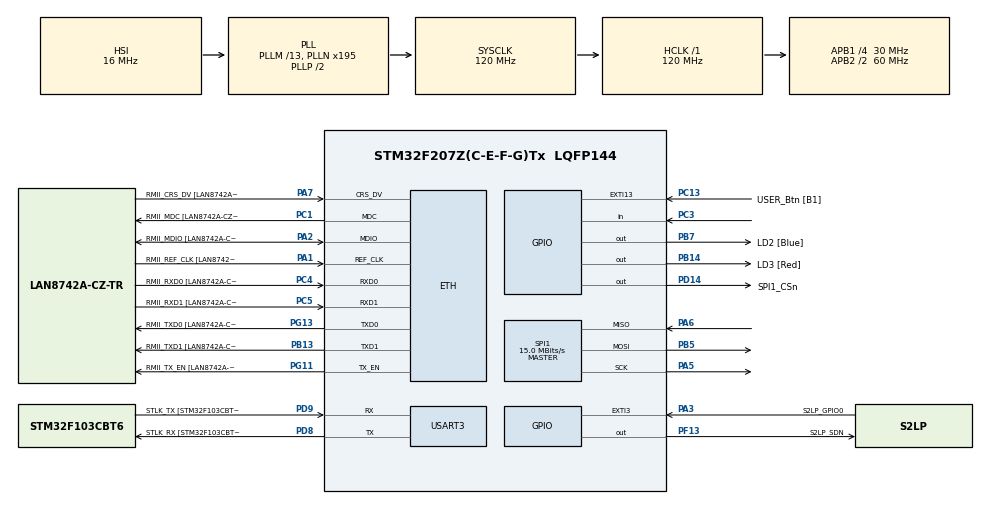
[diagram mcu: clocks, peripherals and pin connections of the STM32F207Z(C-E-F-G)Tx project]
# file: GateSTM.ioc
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ETH.MACAddr=00\:80\:E1\:00\:00\:42
ETH.MediaInterface=ETH_MEDIA_INTERFACE_RMII
ETH.PHY_Name=LAN8742A_PHY_ADDRESS
ETH.PHY_Value=0
ETH.PhyAddress=0
IWDG.Prescaler=IWDG_PRESCALER_256
IWDG.Reload=125*10
LWIP.GATEWAY_ADDRESS=192.168.000.001
LWIP.IP_ADDRESS=192.168.000.002
LWIP.LWIP_DHCP=1
LWIP.LWIP_DNS=1
LWIP.LWIP_ICMP=1
LWIP.MEMP_NUM_RAW_PCB=1
LWIP.MEMP_NUM_TCP_PCB_LISTEN=0
LWIP.MEMP_NUM_TCP_SEG=32
LWIP.MEM_SIZE=5000
LWIP.NETMASK_ADDRESS=255.255.255.000
LWIP.Version=v2.0.0_Cube
Mcu.Family=STM32F2
Mcu.Name=STM32F207Z(C-E-F-G)Tx
Mcu.Package=LQFP144
NVIC.EXTI15_10_IRQn=true\:0\:0\:false\:false\:true\:true
NVIC.EXTI3_IRQn=true\:0\:0\:false\:false\:true\:true
NVIC.PriorityGroup=NVIC_PRIORITYGROUP_4
NVIC.TIM1_UP_TIM10_IRQn=true\:0\:0\:false\:false\:true\:true
PA1.GPIO_Label=RMII_REF_CLK [LAN8742A-CZ-TR_REFCLK0]
PA1.Mode=RMII
PA1.Signal=ETH_REF_CLK
PA13.GPIO_Label=TMS
PA13.Mode=Serial_Wire
PA13.Signal=SYS_JTMS-SWDIO
PA14.GPIO_Label=TCK
PA14.Mode=Serial_Wire
PA14.Signal=SYS_JTCK-SWCLK
PA2.GPIO_Label=RMII_MDIO [LAN8742A-CZ-TR_MDIO]
PA2.Mode=RMII
PA2.Signal=ETH_MDIO
PA3.GPIO_Label=S2LP_GPIO0
PA3.GPIO_ModeDefaultEXTI=GPIO_MODE_IT_FALLING
PA3.Signal=GPXTI3
PA5.Mode=Full_Duplex_Master
PA5.Signal=SPI1_SCK
PA6.Mode=Full_Duplex_Master
PA6.Signal=SPI1_MISO
PA7.GPIO_Label=RMII_CRS_DV [LAN8742A-CZ-TR_CRS_DV]
PA7.Mode=RMII
PA7.Signal=ETH_CRS_DV
PB13.GPIO_Label=RMII_TXD1 [LAN8742A-CZ-TR_TXD1]
PB13.Mode=RMII
PB13.Signal=ETH_TXD1
PB14.GPIO_Label=LD3 [Red]
PB14.Signal=GPIO_Output
PB5.Mode=Full_Duplex_Master
PB5.Signal=SPI1_MOSI
PB7.GPIO_Label=LD2 [Blue]
PB7.Signal=GPIO_Output
PC1.GPIO_Label=RMII_MDC [LAN8742A-CZ-TR_MDC]
PC1.Mode=RMII
PC1.Signal=ETH_MDC
PC13.GPIO_Label=USER_Btn [B1]
PC13.Signal=GPXTI13
PC3.Signal=GPIO_Input
PC4.GPIO_Label=RMII_RXD0 [LAN8742A-CZ-TR_RXD0]
PC4.Mode=RMII
PC4.Signal=ETH_RXD0
PC5.GPIO_Label=RMII_RXD1 [LAN8742A-CZ-TR_RXD1]
PC5.Mode=RMII
PC5.Signal=ETH_RXD1
PD14.GPIO_Label=SPI1_CSn
PD14.Signal=GPIO_Output
PD8.GPIO_Label=STLK_RX [STM32F103CBT6_PA3]
PD8.Mode=Asynchronous
PD8.Signal=USART3_TX
PD9.GPIO_Label=STLK_TX [STM32F103CBT6_PA2]
PD9.Mode=Asynchronous
PD9.Signal=USART3_RX
PF13.GPIO_Label=S2LP_SDN
PF13.Signal=GPIO_Output
PG11.GPIO_Label=RMII_TX_EN [LAN8742A-CZ-TR_TXEN]
PG11.Mode=RMII
PG11.Signal=ETH_TX_EN
PG13.GPIO_Label=RMII_TXD0 [LAN8742A-CZ-TR_TXD0]
PG13.Mode=RMII
PG13.Signal=ETH_TXD0
ProjectManager.HeapSize=0x0
ProjectManager.StackSize=0x4000
ProjectManager.TargetToolchain=Makefile
RCC.48MHZClocksFreq_Value=48000000
RCC.AHBFreq_Value=120000000
RCC.APB1CLKDivider=RCC_HCLK_DIV4
RCC.APB1Freq_Value=30000000
RCC.APB1TimFreq_Value=60000000
RCC.APB2CLKDivider=RCC_HCLK_DIV2
RCC.APB2Freq_Value=60000000
RCC.APB2TimFreq_Value=120000000
RCC.CortexFreq_Value=120000000
RCC.HCLKFreq_Value=120000000
RCC.HSE_VALUE=8000000
RCC.HSI_VALUE=16000000
RCC.LSE_VALUE=32768
RCC.PLLM=13
RCC.PLLMUL=RCC_PLL_MUL9
RCC.PLLN=195
RCC.PLLQ=5
RCC.PRESCALERUSB=RCC_USBCLKSOURCE_PLL_DIV1_5
RCC.SYSCLKFreq_VALUE=120000000
RCC.SYSCLKSource=RCC_SYSCLKSOURCE_PLLCLK
RCC.SYSCLKSourceVirtual=RCC_SYSCLKSOURCE_PLLCLK
RCC.USBFreq_Value=48000000
RCC.VCOOutputFreq_Value=240000000
SPI1.BaudRatePrescaler=SPI_BAUDRATEPRESCALER_4
SPI1.CalculateBaudRate=15.0 MBits/s
SPI1.Direction=SPI_DIRECTION_2LINES
SPI1.Mode=SPI_MODE_MASTER
SPI1.VirtualType=VM_MASTER
TIM1.Period=2000
TIM1.Prescaler=60000
USART3.VirtualMode=VM_ASYNC
VP_CRC_VS_CRC.Mode=CRC_Activate
VP_IWDG_VS_IWDG.Mode=IWDG_Activate
VP_LWIP_VS_Enabled.Mode=Enabled
VP_RNG_VS_RNG.Mode=RNG_Activate
VP_TIM1_VS_ClockSourceINT.Mode=Internal
board=NUCLEO-F207ZG

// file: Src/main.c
// This is an independent project of an individual developer. Dear PVS-Studio, please check it.
// PVS-Studio Static Code Analyzer for C, C++ and C#: http://www.viva64.com
/**
 ******************************************************************************
 * @file           : main.c
 * @brief          : Main program body
 ******************************************************************************
 * This notice applies to any and all portions of this file
 * that are not between comment pairs USER CODE BEGIN and
 * USER CODE END. Other portions of this file, whether
 * inserted by the user or by software development tools
 * are owned by their respective copyright owners.
 *
 * Copyright (c) 2018 STMicroelectronics International N.V.
 * All rights reserved.
 *
 * Redistribution and use in source and binary forms, with or without
 * modification, are permitted, provided that the following conditions are met:
 *
 * 1. Redistribution of source code must retain the above copyright notice,
 *    this list of conditions and the following disclaimer.
 * 2. Redistributions in binary form must reproduce the above copyright notice,
 *    this list of conditions and the following disclaimer in the documentation
 *    and/or other materials provided with the distribution.
 * 3. Neither the name of STMicroelectronics nor the names of other
 *    contributors to this software may be used to endorse or promote products
 *    derived from this software without specific written permission.
 * 4. This software, including modifications and/or derivative works of this
 *    software, must execute solely and exclusively on microcontroller or
 *    microprocessor devices manufactured by or for STMicroelectronics.
 * 5. Redistribution and use of this software other than as permitted under
 *    this license is void and will automatically terminate your rights under
 *    this license.
 *
 * THIS SOFTWARE IS PROVIDED BY STMICROELECTRONICS AND CONTRIBUTORS "AS IS"
 * AND ANY EXPRESS, IMPLIED OR STATUTORY WARRANTIES, INCLUDING, BUT NOT
 * LIMITED TO, THE IMPLIED WARRANTIES OF MERCHANTABILITY, FITNESS FOR A
 * PARTICULAR PURPOSE AND NON-INFRINGEMENT OF THIRD PARTY INTELLECTUAL PROPERTY
 * RIGHTS ARE DISCLAIMED TO THE FULLEST EXTENT PERMITTED BY LAW. IN NO EVENT
 * SHALL STMICROELECTRONICS OR CONTRIBUTORS BE LIABLE FOR ANY DIRECT, INDIRECT,
 * INCIDENTAL, SPECIAL, EXEMPLARY, OR CONSEQUENTIAL DAMAGES (INCLUDING, BUT NOT
 * LIMITED TO, PROCUREMENT OF SUBSTITUTE GOODS OR SERVICES; LOSS OF USE, DATA,
 * OR PROFITS; OR BUSINESS INTERRUPTION) HOWEVER CAUSED AND ON ANY THEORY OF
 * LIABILITY, WHETHER IN CONTRACT, STRICT LIABILITY, OR TORT (INCLUDING
 * NEGLIGENCE OR OTHERWISE) ARISING IN ANY WAY OUT OF THE USE OF THIS SOFTWARE,
 * EVEN IF ADVISED OF THE POSSIBILITY OF SUCH DAMAGE.
 *
 ******************************************************************************
 */
#include "main.h"
#include "stm32f2xx_hal.h"
#include "crc.h"
#include "iwdg.h"
#include "lwip.h"
#include "rng.h"
#include "spi.h"
#include "tim.h"
#include "usart.h"
#include "gpio.h"

/* USER CODE BEGIN Includes */
#include "tcps.h"
#include "xprint.h"
#include "radio.h"
#include "MCU_Interface.h"
/* USER CODE END Includes */

/* USER CODE BEGIN PV */
/* Private variables ---------------------------------------------------------*/
extern struct netif gnetif;
extern SPI_HandleTypeDef hspi1;
/* USER CODE END PV */

void SystemClock_Config(void);

/* USER CODE BEGIN PFP */

/* Private function prototypes -----------------------------------------------*/
static void DBG_Init() {
  __HAL_DBGMCU_FREEZE_IWDG();
  __HAL_DBGMCU_FREEZE_WWDG();
  __HAL_DBGMCU_FREEZE_TIM1();
}

static void WDGStart() {
  MX_IWDG_Init();
  LOG("Start WDG");
}

static void WDGReset() {
  HAL_IWDG_Refresh(&hiwdg);
}

void RadioReveiveCallback(RADIO_PacketHeader *header, void* pData, uint8_t dataLen) {
  // LOG("RADIO: Received 0x%x->0x%x %d bytes", header->src, header->dest, dataLen);
  TCPS_SendPacket(SRV_PACKET_TYPE_RADIO_PACKET, header, dataLen + RADIO_PACKET_HEADER_SIZE);
}

void TCPSReceivePacketCallback(SRV_PacketHeader * pHead, uint8_t *payload) {
  if (SRV_PACKET_TYPE_RADIO_PACKET == pHead->type) {
    RADIO_PacketHeader *pRHead = (RADIO_PacketHeader *) payload;
    //!!!!!!!!!!!!!!! (uint16_t)pHead->payloadLength radpack uint8_t

    if (pHead->payloadLength > RADIO_MAX_PAYLOAD_SIZE) {
      LOGERR("Bad packet size %d", pHead->payloadLength);
    } else {
      assert_param(pHead->payloadLength < 0xFF);
      RADIO_Result r = RADIO_TransmitPacket(pRHead, pHead->payloadLength);
      if (RADIO_OK != r) {
        LOG("RADIO transmit error %d", r);
      }
    }
  }
}
/* USER CODE END PFP */

int main(void) {

  /* MCU Configuration----------------------------------------------------------*/

  /* Reset of all peripherals, Initializes the Flash interface and the Systick. */
  HAL_Init();

  /* Configure the system clock */
  SystemClock_Config();

  /* USER CODE BEGIN SysInit */
  DBG_Init();
  /* USER CODE END SysInit */

  /* Initialize all configured peripherals */
  MX_GPIO_Init();
  MX_CRC_Init();
  MX_LWIP_Init();
  MX_RNG_Init();
  MX_SPI1_Init();
  MX_TIM1_Init();
  MX_USART3_UART_Init();
  /* USER CODE BEGIN 2 */
  xprint_init_UART(&huart3);
  WDGStart();

  TCPS_InitStruct tcpsInit = {
    .pNetif = &gnetif,
    .receiveCallback = TCPSReceivePacketCallback
  };

  TCPS_Init(tcpsInit);

  SdkEvalSpiInitEx(&hspi1, SPI1_CSn_GPIO_Port, SPI1_CSn_Pin, S2LP_SDN_GPIO_Port, S2LP_SDN_Pin);

  RADIO_InitStruct rInit = {
    .devID = 1,
    .receiveCallbackFn = RadioReveiveCallback
  };
  RADIO_Init(&rInit);

  HAL_TIM_Base_Start_IT(&htim1);
  LOG("Gate init. ID:0x%x ", DBGMCU->IDCODE);

  /* USER CODE END 2 */

  /* Infinite loop */
  while (1) {

    /* USER CODE BEGIN 3 */
    WDGReset();
    RADIO_Process();
    TCPS_Process();

    GPIOB->BSRR = RADIO_IsReceive() ? GPIO_BSRR_BS7 : GPIO_BSRR_BR7;
  }
  /* USER CODE END 3 */

}

void SystemClock_Config(void) {

  RCC_OscInitTypeDef RCC_OscInitStruct;
  RCC_ClkInitTypeDef RCC_ClkInitStruct;

  /**Initializes the CPU, AHB and APB busses clocks
   */
  RCC_OscInitStruct.OscillatorType = RCC_OSCILLATORTYPE_HSI | RCC_OSCILLATORTYPE_LSI;
  RCC_OscInitStruct.HSIState = RCC_HSI_ON;
  RCC_OscInitStruct.HSICalibrationValue = 16;
  RCC_OscInitStruct.LSIState = RCC_LSI_ON;
  RCC_OscInitStruct.PLL.PLLState = RCC_PLL_ON;
  RCC_OscInitStruct.PLL.PLLSource = RCC_PLLSOURCE_HSI;
  RCC_OscInitStruct.PLL.PLLM = 13;
  RCC_OscInitStruct.PLL.PLLN = 195;
  RCC_OscInitStruct.PLL.PLLP = RCC_PLLP_DIV2;
  RCC_OscInitStruct.PLL.PLLQ = 5;
  if (HAL_RCC_OscConfig(&RCC_OscInitStruct) != HAL_OK) {
    _Error_Handler(__FILE__, __LINE__);
  }

  /**Initializes the CPU, AHB and APB busses clocks
   */
  RCC_ClkInitStruct.ClockType = RCC_CLOCKTYPE_HCLK | RCC_CLOCKTYPE_SYSCLK
      | RCC_CLOCKTYPE_PCLK1 | RCC_CLOCKTYPE_PCLK2;
  RCC_ClkInitStruct.SYSCLKSource = RCC_SYSCLKSOURCE_PLLCLK;
  RCC_ClkInitStruct.AHBCLKDivider = RCC_SYSCLK_DIV1;
  RCC_ClkInitStruct.APB1CLKDivider = RCC_HCLK_DIV4;
  RCC_ClkInitStruct.APB2CLKDivider = RCC_HCLK_DIV2;

  if (HAL_RCC_ClockConfig(&RCC_ClkInitStruct, FLASH_LATENCY_3) != HAL_OK) {
    _Error_Handler(__FILE__, __LINE__);
  }

  /**Configure the Systick interrupt time
   */
  HAL_SYSTICK_Config(HAL_RCC_GetHCLKFreq() / 1000);

  /**Configure the Systick
   */
  HAL_SYSTICK_CLKSourceConfig(SYSTICK_CLKSOURCE_HCLK);

  /* SysTick_IRQn interrupt configuration */
  HAL_NVIC_SetPriority(SysTick_IRQn, 0, 0);
}

/* USER CODE BEGIN 4 */

void HAL_TIM_PeriodElapsedCallback(TIM_HandleTypeDef* htim) {
  if (htim->Instance == TIM1) {
    TCPS_StartSession();
  }
}

void HAL_GPIO_EXTI_Callback(uint16_t pin) {
  //static uint8_t testData[1000];
  if (pin == USER_Btn_Pin) {
    //    __disable_irq();
    //    TCPS_SendPacket(SRV_PACKET_TYPE_DATA, &testData, 1000);
    //    __enable_irq();
    //    TCPS_Error err = TCPS_StartSession();
    //    if (err < 0) {
    //      LOG("StartSession error %d", err);
    //    }
    HAL_GPIO_TogglePin(LD2_GPIO_Port, LD2_Pin);
  }

  if (pin == S2LP_GPIO0_Pin) {
    RADIO_IRQCallback();
  }
}

/* USER CODE END 4 */

void _Error_Handler(char *file, int line) {
  /* USER CODE BEGIN Error_Handler_Debug */
  /* User can add his own implementation to report the HAL error return state */
  LOG("ERROR HANDLER: %s:%d. Stop MCU", file, line);
  while (1) {
  }
  /* USER CODE END Error_Handler_Debug */
}

#ifdef  USE_FULL_ASSERT

/**
 * @brief  Reports the name of the source file and the source line number
 *         where the assert_param error has occurred.
 * @param  file: pointer to the source file name
 * @param  line: assert_param error line source number
 * @retval None
 */
void assert_failed(uint8_t* file, uint32_t line) {
  /* USER CODE BEGIN 6 */
  LOG("ASSERT FAILED: %s:%d", file, line);
  /* USER CODE END 6 */
}
#endif /* USE_FULL_ASSERT */

/************************ (C) COPYRIGHT STMicroelectronics *****END OF FILE****/
